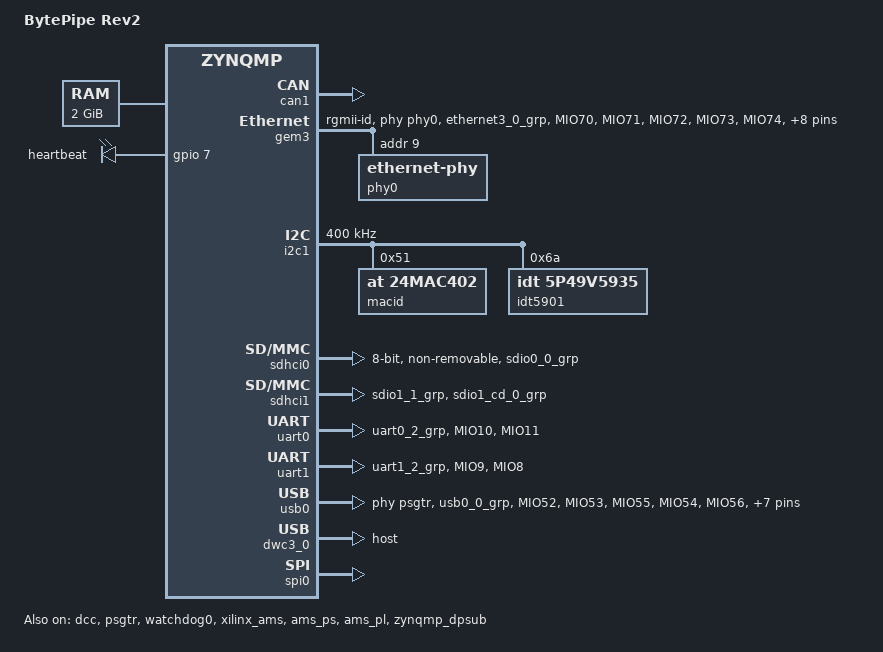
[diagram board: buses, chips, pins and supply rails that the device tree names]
/dts-v1/;

#include "zynqmp.dtsi"
#include "zynqmp-clk-ccf.dtsi"
#include <dt-bindings/input/input.h>
#include <dt-bindings/gpio/gpio.h>
#include <dt-bindings/pinctrl/pinctrl-zynqmp.h>
#include <dt-bindings/phy/phy.h>
#include <dt-bindings/interrupt-controller/irq.h>
#include <dt-bindings/clk/versaclock.h>

/ {
	model = "BytePipe Rev2";
	compatible = "xlnx,zynqmp";

	aliases {
		ethernet0 = &gem3;
		gpio0 = &gpio;
		i2c0 = &i2c0;
		i2c1 = &i2c1;
		mmc0 = &sdhci1;
		mmc1 = &sdhci0;
		rtc0 = &rtc;
		serial0 = &uart0;
		serial1 = &uart1;
		serial2 = &dcc;
		usb0 = &usb0;
	};

	chosen {
		bootargs = "root=/dev/mmcblk0p2 rw rootwait earlycon";
		stdout-path = "serial0:115200n8";
	};

	memory@0 {
		device_type = "memory";
		reg = <0x0 0x0 0x0 0x7ff00000>;
	};

	

	leds {
		compatible = "gpio-leds";
		heartbeat-led {
			label = "heartbeat";
			gpios = <&gpio 7 GPIO_ACTIVE_HIGH>;
			linux,default-trigger = "heartbeat";
		};
	};
};


&can1 {
	status = "okay";
};

&dcc {
	status = "okay";
};

&fpd_dma_chan1 {
	status = "okay";
};

&fpd_dma_chan2 {
	status = "okay";
};

&fpd_dma_chan3 {
	status = "okay";
};

&fpd_dma_chan4 {
	status = "okay";
};

&fpd_dma_chan5 {
	status = "okay";
};

&fpd_dma_chan6 {
	status = "okay";
};

&fpd_dma_chan7 {
	status = "okay";
};

&fpd_dma_chan8 {
	status = "okay";
};

&gem3 {
	status = "okay";
	phy-handle = <&phy0>;
	phy-mode = "rgmii-id";
	pinctrl-names = "default";
	pinctrl-0 = <&pinctrl_gem3_default>;
	phy0: ethernet-phy@9 {
		reg = <9>;
		ti,rx-internal-delay = <0x8>;
		ti,tx-internal-delay = <0xa>;
		ti,fifo-depth = <0x1>;
		ti,dp83867-rxctrl-strap-quirk;
		/* reset-gpios = <&tca6416_u97 6 GPIO_ACTIVE_LOW>; */
	};
};

&gpio {
	status = "okay";
	pinctrl-names = "default";
	pinctrl-0 = <&pinctrl_gpio_default>;
};

&i2c1 {
     	status = "okay";
     	clock-frequency = <400000>;
                
	macid: eeprom2@51 { /* IIC_MAC_ID - SOM - U7 */
	     compatible = "at,24mac402";
	     reg = <0x51>;
	};

	idt5901: clock-generator@6a { /* IDT 5P49V5935 clock generator - HDK - U6 */
	     #clock-cells = <1>;
	     compatible = "idt,5p49v5935";
	     reg = <0x6a>;
		 status = "okay";
	     
		 //GTR_CLK3 (DP), GTRCLK 2 (DP), GTRCLK 0 (USB), GTRCLK1 (SATA)
		 assigned-clocks = <&idt5901 1>, <&idt5901 2>, <&idt5901 3>, <&idt5901 4>;
		 assigned-clock-rates = <27000000>, <27000000>, <52000000>, <125000000>;
		 OUT1 {
			idt,mode = <VC5_LVDS>;
		 };
		 OUT2 {
			idt,mode = <VC5_LVDS>;
		 };
		 OUT3 {
			idt,mode = <VC5_LVDS>;
		 };
		 OUT4 {
			idt,mode = <VC5_LVDS>;
		 };		
		 
		  		 		 
	};
};

&pinctrl0 {
	status = "okay";

	pinctrl_uart0_default: uart0-default {
		mux {
			groups = "uart0_2_grp";
			function = "uart0";
		};

		conf {
			groups = "uart0_2_grp";
			slew-rate = <SLEW_RATE_SLOW>;
			power-source = <IO_STANDARD_LVCMOS18>;
		};

		conf-rx {
			pins = "MIO10";
			bias-high-impedance;
		};

		conf-tx {
			pins = "MIO11";
			bias-disable;
		};
	};

	pinctrl_uart1_default: uart1-default {
		mux {
			groups = "uart1_2_grp";
			function = "uart1";
		};

		conf {
			groups = "uart1_2_grp";
			slew-rate = <SLEW_RATE_SLOW>;
			power-source = <IO_STANDARD_LVCMOS18>;
		};

		conf-rx {
			pins = "MIO9";
			bias-high-impedance;
		};

		conf-tx {
			pins = "MIO8";
			bias-disable;
		};
	};

	pinctrl_usb0_default: usb0-default {
		mux {
			groups = "usb0_0_grp";
			function = "usb0";
		};

		conf {
			groups = "usb0_0_grp";
			power-source = <IO_STANDARD_LVCMOS18>;
			io-standard = <IO_STANDARD_LVCMOS18>;
		};

		conf-rx {
			pins = "MIO52", "MIO53", "MIO55";
			bias-high-impedance;
			drive-strength = <12>;
			slew-rate = <SLEW_RATE_FAST>;
		};

		conf-tx {
			pins = "MIO54", "MIO56", "MIO57", "MIO58", "MIO59",
			       "MIO60", "MIO61", "MIO62", "MIO63";
			bias-disable;
			drive-strength = <4>;
			slew-rate = <SLEW_RATE_SLOW>;
		};
	};

	pinctrl_gem3_default: gem3-default {
		mux {
			function = "ethernet3";
			groups = "ethernet3_0_grp";
		};

		conf {
			groups = "ethernet3_0_grp";
			slew-rate = <SLEW_RATE_SLOW>;
			power-source = <IO_STANDARD_LVCMOS18>;
		};

		conf-rx {
			pins = "MIO70", "MIO71", "MIO72", "MIO73", "MIO74",
									"MIO75";
			bias-high-impedance;
			low-power-disable;
		};

		conf-tx {
			pins = "MIO64", "MIO65", "MIO66", "MIO67", "MIO68",
									"MIO69";
			bias-disable;
			low-power-enable;
		};

		mux-mdio {
			function = "mdio3";
			groups = "mdio3_0_grp";
		};

		conf-mdio {
			groups = "mdio3_0_grp";
			slew-rate = <SLEW_RATE_SLOW>;
			power-source = <IO_STANDARD_LVCMOS18>;
			bias-disable;
		};
	};


	pinctrl_sdhci1_default: sdhci1-default {
		mux {
			groups = "sdio1_1_grp";
			function = "sdio1";
		};

		conf {
			groups = "sdio1_1_grp";
			slew-rate = <SLEW_RATE_SLOW>;
			power-source = <IO_STANDARD_LVCMOS33>;
			bias-disable;
		};

		mux-cd {
			groups = "sdio1_cd_0_grp";
			function = "sdio1_cd";
		};

		conf-cd {
			groups = "sdio1_cd_0_grp";
			bias-high-impedance;
			bias-pull-up;
			slew-rate = <SLEW_RATE_SLOW>;
			power-source = <IO_STANDARD_LVCMOS33>;
		};

	};

	pinctrl_sdhci0_default: sdhci0-default {
        mux {
            groups = "sdio0_0_grp";
            function = "sdio0";
        };
        conf {
            groups = "sdio0_0_grp";
            bias-disable;
            slew-rate = <SLEW_RATE_SLOW>;
            power-source = <IO_STANDARD_LVCMOS18>;
        };
    };

	pinctrl_gpio_default: gpio-default {
		mux-sw {
			function = "gpio0";
			groups = "gpio0_7_grp";
		};

		conf-sw {
			groups = "gpio0_7_grp";
			slew-rate = <SLEW_RATE_SLOW>;
			power-source = <IO_STANDARD_LVCMOS18>;
		};
	};
};

/* emmc */
&sdhci0 {
    status = "okay";
    bus-width = <8>;
    non-removable;
	disable-wp;
	no-sd;
    no-sdio;
	cap-mmc-highspeed;
    mmc-hs200-1_8v;
	pinctrl-names = "default";
    pinctrl-0 = <&pinctrl_sdhci0_default>;
};

/* SD1 with level shifter */
&sdhci1 {
	status = "okay";
	/*
	 * 1.0 revision has level shifter and this property should be
	 * removed for supporting UHS mode
	 */
	no-1-8-v;
	disable-wp;
	pinctrl-names = "default";
	pinctrl-0 = <&pinctrl_sdhci1_default>;
	xlnx,mio-bank = <1>;
	max-frequency = <50000000>;
};

&uart0 {
	status = "okay";
	pinctrl-names = "default";
	pinctrl-0 = <&pinctrl_uart0_default>;
};

&uart1 {
	status = "okay";
	pinctrl-names = "default";
	pinctrl-0 = <&pinctrl_uart1_default>;
};

&psgtr {
	status = "okay";
	//GTR_CLK3 (DP), GTRCLK 2 (DP), GTRCLK 0 (USB), GTRCLK1 (SATA)
	clocks = <&idt5901 3>, <&idt5901 4>, <&idt5901 2>, <&idt5901 1>;
	clock-names = "ref0", "ref1", "ref2", "ref3";
};

/* ULPI SMSC USB3320 */
&usb0 {
	status = "okay";
	pinctrl-names = "default";
	pinctrl-0 = <&pinctrl_usb0_default>;
	phy-names = "usb3-phy";
	phys = <&psgtr 0 PHY_TYPE_USB3 0 0>;
};

&dwc3_0 {
	status = "okay";
	dr_mode = "host";
	snps,usb3_lpm_capable;
	maximum-speed = "super-speed";
};

&watchdog0 {
	status = "okay";
};

&xilinx_ams {
	status = "okay";
};

&ams_ps {
	status = "okay";
};

&ams_pl {
	status = "okay";
};

&zynqmp_dpdma {
	status = "okay";
};

&zynqmp_dpsub {
	status = "okay";
	phy-names = "dp-phy0", "dp-phy1";
	phys = <&psgtr 3 PHY_TYPE_DP 0 3>, <&psgtr 2 PHY_TYPE_DP 1 2>;
};


&spi0 {
	status = "okay";
};

#define fmc_spi spi0


/*
Name		HDL	Linux
output_enable	52	130
tx2_enable	51	129i
tx1_enable	50	128
rx2_enable	49	127
rx1_enable	48	126
reset_trx	46	124
gp_int		44	122
dgpio_11	43	121
dgpio_10	42	120
dgpio_9		41	119
dgpio_8		40	118
dgpio_7		39	117
dgpio_6		38	116
dgpio_5		37	115
dgpio_4		36	114
dgpio_3		35	113
dgpio_2		34	112
dgpio_1		33	111
dgpio_0		32	110
*/



